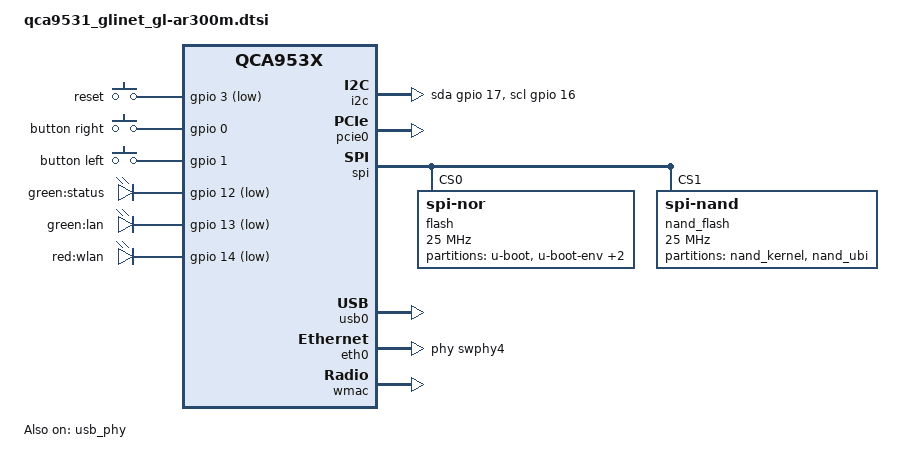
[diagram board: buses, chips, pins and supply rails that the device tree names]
#include "qca953x.dtsi"

#include <dt-bindings/gpio/gpio.h>
#include <dt-bindings/input/input.h>

/ {
	aliases {
		led-boot = &led_status;
		led-failsafe = &led_status;
		led-running = &led_status;
		led-upgrade = &led_status;
		label-mac-device = &eth0;
	};

	keys {
		compatible = "gpio-keys";

		pinctrl-names = "default";
		pinctrl-0 = <&jtag_disable_pins>;

		reset {
			label = "reset";
			linux,code = <KEY_RESTART>;
			gpios = <&gpio 3 GPIO_ACTIVE_LOW>;
		};

		right {
			label = "button right";
			linux,code = <BTN_0>;
			gpios = <&gpio 0 GPIO_ACTIVE_HIGH>;
		};

		left {
			label = "button left";
			linux,code = <BTN_1>;
			gpios = <&gpio 1 GPIO_ACTIVE_HIGH>;
		};
	};

	leds {
		compatible = "gpio-leds";

		// Colors for non-Lite versions

		led_status: status {
			label = "green:status";
			gpios = <&gpio 12 GPIO_ACTIVE_LOW>;
		};

		lan {
			label = "green:lan";
			gpios = <&gpio 13 GPIO_ACTIVE_LOW>;
		};

		led_wlan: wlan {
			label = "red:wlan";
			gpios = <&gpio 14 GPIO_ACTIVE_LOW>;
			linux,default-trigger = "phy0tpt";
		};
	};

	i2c: i2c {
		compatible = "i2c-gpio";

		sda-gpios = <&gpio 17 (GPIO_ACTIVE_HIGH|GPIO_OPEN_DRAIN)>;
		scl-gpios = <&gpio 16 (GPIO_ACTIVE_HIGH|GPIO_OPEN_DRAIN)>;
	};
};

&pcie0 {
	status = "okay";
};

&spi {
	status = "okay";

	flash@0 {
		compatible = "jedec,spi-nor";
		reg = <0>;
		spi-max-frequency = <25000000>;

		partitions {
			compatible = "fixed-partitions";
			#address-cells = <1>;
			#size-cells = <1>;

			partition@0 {
				label = "u-boot";
				reg = <0x000000 0x040000>;
				read-only;
			};

			partition@40000 {
				label = "u-boot-env";
				reg = <0x040000 0x010000>;
			};

			nor_firmware: partition@50000 {
				label = "nor_firmware";
				reg = <0x050000 0xfa0000>;
			};

			art: partition@ff0000 {
				label = "art";
				reg = <0xff0000 0x010000>;
				read-only;
			};
		};
	};

	nand_flash: flash@1 {
		compatible = "spi-nand";
		reg = <1>;
		spi-max-frequency = <25000000>;

		partitions {
			compatible = "fixed-partitions";
			#address-cells = <1>;
			#size-cells = <1>;

			nand_kernel: partition@0 {
				label = "nand_kernel";
				reg = <0x000000 0x400000>;
			};

			nand_ubi: partition@400000 {
				label = "nand_ubi";
				reg = <0x400000 0x7c00000>;
			};
		};
	};
};

&usb0 {
	#address-cells = <1>;
	#size-cells = <0>;
	status = "okay";
};

&usb_phy {
	status = "okay";
};

&eth0 {
	status = "okay";

	phy-handle = <&swphy4>;

	nvmem-cells = <&macaddr_art_0>;
	nvmem-cell-names = "mac-address";
};

&eth1 {
	nvmem-cells = <&macaddr_art_0>;
	nvmem-cell-names = "mac-address";
	mac-address-increment = <1>;
};

&wmac {
	status = "okay";
	mtd-cal-data = <&art 0x1000>;
};

&art {
	compatible = "nvmem-cells";
	#address-cells = <1>;
	#size-cells = <1>;

	macaddr_art_0: macaddr@0 {
		reg = <0x0 0x6>;
	};
};
